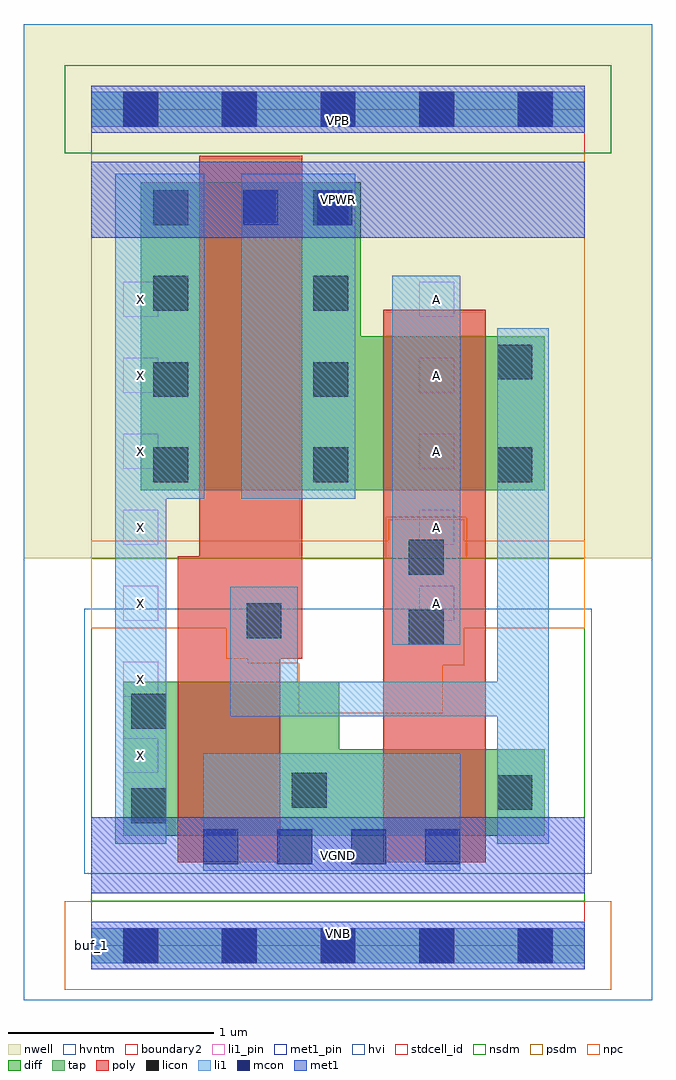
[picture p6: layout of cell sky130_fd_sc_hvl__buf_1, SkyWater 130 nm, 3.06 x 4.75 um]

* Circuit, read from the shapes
.subckt sky130_fd_sc_hvl__buf_1 A VGND VNB VPB VPWR X
XM1 VGND n1 X VNB sky130_fd_pr__nfet_g5v0d10v5 w=0.75 l=0.5
XM2 n1 A VGND VNB sky130_fd_pr__nfet_g5v0d10v5 w=0.42 l=0.5
XM3 VPWR n1 X VPB sky130_fd_pr__pfet_g5v0d10v5 w=1.5 l=0.5
XM4 n1 A VPWR VPB sky130_fd_pr__pfet_g5v0d10v5 w=0.75 l=0.5
.ends

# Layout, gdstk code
import gdstk
lib = gdstk.Library(unit=1e-6, precision=1e-09)
def R(c, l, rs):  # rectangles x0, y0, x1, y1
    for r in rs: c.add(gdstk.rectangle(r[:2], r[2:], *l))
def A(c, l, x, y, w, h, nx, ny, dx, dy):  # array of equal rectangles
    R(c, l, [(x+i*dx, y+j*dy, x+i*dx+w, y+j*dy+h) for i in range(nx) for j in range(ny)])
def P(c, l, *ps):  # polygons
    for p in ps: c.add(gdstk.Polygon(p, *l))
nwell = (64, 20)
diff = (65, 20)
tap = (65, 44)
poly = (66, 20)
licon = (66, 44)
li1_pin = (67, 16)
li1 = (67, 20)
mcon = (67, 44)
met1_pin = (68, 16)
met1 = (68, 20)
hvi = (75, 20)
stdcell_id = (81, 4)
nsdm = (93, 44)
psdm = (94, 20)
npc = (95, 20)
hvntm = (125, 20)
boundary2 = (236, 0)

sky130_fd_sc_hvl__buf_1 = lib.new_cell('sky130_fd_sc_hvl__buf_1')
R(sky130_fd_sc_hvl__buf_1, nwell, [(-0.33,1.885,2.73,4.485)])
P(sky130_fd_sc_hvl__buf_1, diff, [(0.24,2.215),(0.24,3.715),(1.31,3.715),(1.31,2.965),(2.205,2.965),(2.205,2.215)],
  [(0.155,0.535),(0.155,1.285),(1.205,1.285),(1.205,0.955),(2.205,0.955),(2.205,0.535)])
R(sky130_fd_sc_hvl__buf_1, tap, [(0,-0.085,2.4,0.085), (0,3.985,2.4,4.155)])
R(sky130_fd_sc_hvl__buf_1, poly, [(1.42,0.405,1.92,3.095)])
P(sky130_fd_sc_hvl__buf_1, poly, [(0.42,0.405),(0.42,1.895),(0.525,1.895),(0.525,3.845),(1.025,3.845),(1.025,1.395),(0.92,1.395),(0.92,0.405)])
A(sky130_fd_sc_hvl__buf_1, licon, 0.155, -0.085, 0.17, 0.17, 5, 2, 0.48, 4.07)
R(sky130_fd_sc_hvl__buf_1, licon, [(0.195,0.595,0.365,0.765), (1.975,0.66,2.145,0.83), (0.975,0.67,1.145,0.84), (0.195,1.055,0.365,1.225), (1.545,1.465,1.715,1.635), (0.755,1.495,0.925,1.665), (1.545,1.805,1.715,1.975), (0.3,2.255,0.47,2.425), (1.08,2.255,1.25,2.425), (1.975,2.255,2.145,2.425), (0.3,2.67,0.47,2.84), (1.08,2.67,1.25,2.84), (1.975,2.755,2.145,2.925), (0.3,3.09,0.47,3.26), (1.08,3.09,1.25,3.26), (0.3,3.505,0.47,3.675), (1.08,3.505,1.25,3.675)])
A(sky130_fd_sc_hvl__buf_1, li1_pin, 0.155, 0.84, 0.17, 0.17, 1, 7, 0, 0.37)
A(sky130_fd_sc_hvl__buf_1, li1_pin, 1.595, 1.58, 0.17, 0.17, 1, 5, 0, 0.37)
R(sky130_fd_sc_hvl__buf_1, li1, [(0,-0.085,2.4,0.085), (0.545,0.365,1.795,0.935), (1.465,1.465,1.795,3.26), (0.73,2.175,1.285,3.755), (0,3.985,2.4,4.155)])
P(sky130_fd_sc_hvl__buf_1, li1, [(0.115,0.495),(0.115,3.755),(0.55,3.755),(0.55,2.175),(0.365,2.175),(0.365,0.495)],
  [(1.975,0.495),(1.975,1.115),(0.675,1.115),(0.675,1.745),(1.005,1.745),(1.005,1.285),(1.975,1.285),(1.975,3.005),(2.225,3.005),(2.225,0.495)])
A(sky130_fd_sc_hvl__buf_1, mcon, 0.545, 0.395, 0.17, 0.17, 4, 1, 0.36, 0)
R(sky130_fd_sc_hvl__buf_1, mcon, [(0.155,-0.085,0.325,0.085), (0.155,-0.085,0.325,0.085), (0.635,-0.085,0.805,0.085), (0.635,-0.085,0.805,0.085), (1.115,-0.085,1.285,0.085), (1.115,-0.085,1.285,0.085), (1.595,-0.085,1.765,0.085), (1.595,-0.085,1.765,0.085), (2.075,-0.085,2.245,0.085), (2.075,-0.085,2.245,0.085), (0.74,3.505,0.91,3.675), (1.1,3.505,1.27,3.675), (0.155,3.985,0.325,4.155), (0.155,3.985,0.325,4.155), (0.635,3.985,0.805,4.155), (0.635,3.985,0.805,4.155), (1.115,3.985,1.285,4.155), (1.115,3.985,1.285,4.155), (1.595,3.985,1.765,4.155), (1.595,3.985,1.765,4.155), (2.075,3.985,2.245,4.155), (2.075,3.985,2.245,4.155)])
R(sky130_fd_sc_hvl__buf_1, met1_pin, [(0,0,2.4,0.115), (0,0.255,2.4,0.625), (0,3.445,2.4,3.815), (0,3.955,2.4,4.07)])
R(sky130_fd_sc_hvl__buf_1, met1, [(0,-0.115,2.4,0.115), (0,0.255,2.4,0.625), (0,3.445,2.4,3.815), (0,3.955,2.4,4.185)])
R(sky130_fd_sc_hvl__buf_1, hvi, [(-0.33,-0.265,2.73,4.485)])
R(sky130_fd_sc_hvl__buf_1, stdcell_id, [(0,0,2.4,4.07)])
R(sky130_fd_sc_hvl__buf_1, nsdm, [(0,0.215,2.4,1.885), (-0.13,3.855,2.53,4.285), (0,3.855,2.4,4.07)])
R(sky130_fd_sc_hvl__buf_1, psdm, [(-0.13,-0.215,2.53,0.215)])
P(sky130_fd_sc_hvl__buf_1, psdm, [(0,1.885),(0,3.855),(2.4,3.855),(2.4,1.885),(1.825,1.885),(1.825,2.085),(1.435,2.085),(1.435,1.885)])
P(sky130_fd_sc_hvl__buf_1, npc, [(1.01,1.13),(1.01,1.375),(0.76,1.375),(0.76,1.395),(0.655,1.395),(0.655,1.545),(0,1.545),(0,1.97),(1.445,1.97),(1.445,2.075),(1.815,2.075),(1.815,1.97),(2.4,1.97),(2.4,1.545),(1.815,1.545),(1.815,1.365),(1.71,1.365),(1.71,1.13)])
R(sky130_fd_sc_hvl__buf_1, hvntm, [(-0.035,0.35,2.435,1.64)])
R(sky130_fd_sc_hvl__buf_1, boundary2, [(0,0,2.4,4.07)])
sky130_fd_sc_hvl__buf_1.add(gdstk.Label('buf_1', (0,0), layer=83, texttype=44))
sky130_fd_sc_hvl__buf_1.add(gdstk.Label('VGND', (1.2,0.44), layer=68, texttype=5))
sky130_fd_sc_hvl__buf_1.add(gdstk.Label('VNB', (1.2,0.058), layer=68, texttype=5))
sky130_fd_sc_hvl__buf_1.add(gdstk.Label('VPWR', (1.2,3.63), layer=68, texttype=5))
sky130_fd_sc_hvl__buf_1.add(gdstk.Label('VPB', (1.2,4.013), layer=68, texttype=5))
sky130_fd_sc_hvl__buf_1.add(gdstk.Label('A', (1.68,1.665), layer=67, texttype=5))
sky130_fd_sc_hvl__buf_1.add(gdstk.Label('A', (1.68,2.035), layer=67, texttype=5))
sky130_fd_sc_hvl__buf_1.add(gdstk.Label('A', (1.68,2.405), layer=67, texttype=5))
sky130_fd_sc_hvl__buf_1.add(gdstk.Label('A', (1.68,2.775), layer=67, texttype=5))
sky130_fd_sc_hvl__buf_1.add(gdstk.Label('A', (1.68,3.145), layer=67, texttype=5))
sky130_fd_sc_hvl__buf_1.add(gdstk.Label('X', (0.24,0.925), layer=67, texttype=5))
sky130_fd_sc_hvl__buf_1.add(gdstk.Label('X', (0.24,1.295), layer=67, texttype=5))
sky130_fd_sc_hvl__buf_1.add(gdstk.Label('X', (0.24,1.665), layer=67, texttype=5))
sky130_fd_sc_hvl__buf_1.add(gdstk.Label('X', (0.24,2.035), layer=67, texttype=5))
sky130_fd_sc_hvl__buf_1.add(gdstk.Label('X', (0.24,2.405), layer=67, texttype=5))
sky130_fd_sc_hvl__buf_1.add(gdstk.Label('X', (0.24,2.775), layer=67, texttype=5))
sky130_fd_sc_hvl__buf_1.add(gdstk.Label('X', (0.24,3.145), layer=67, texttype=5))

lib.write_gds('sky130_fd_sc_hvl__buf_1.gds')
